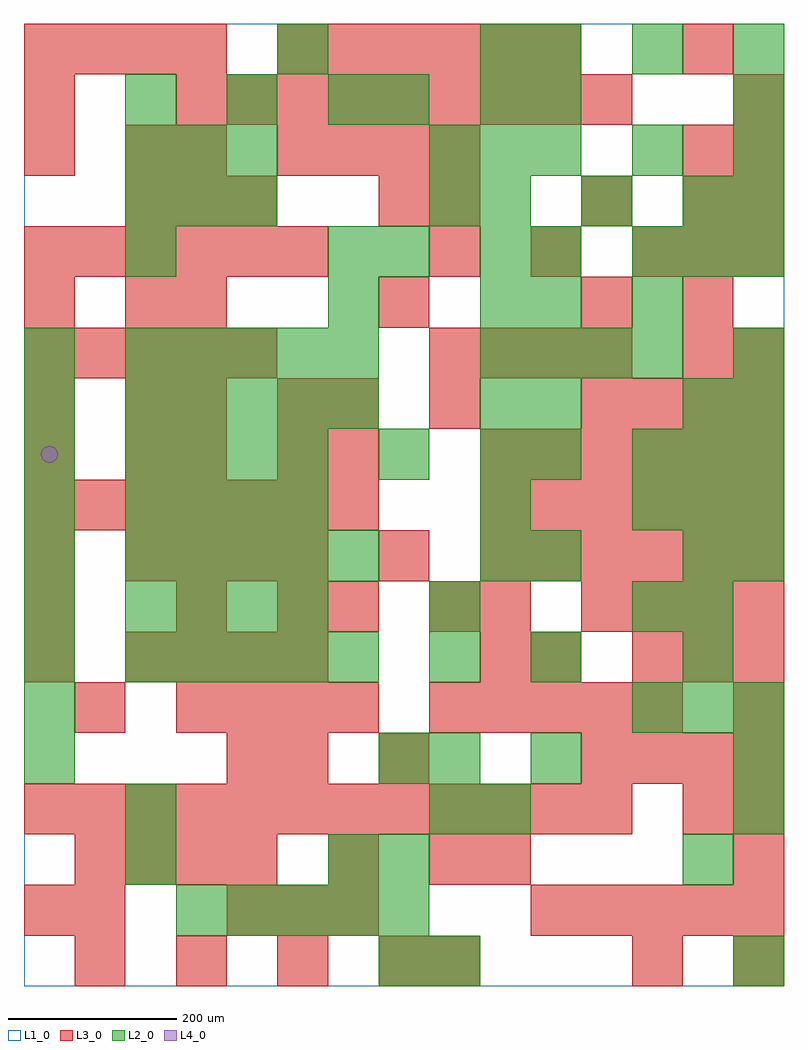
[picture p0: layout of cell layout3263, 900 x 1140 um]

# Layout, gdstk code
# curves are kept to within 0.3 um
import gdstk
lib = gdstk.Library(unit=1e-6, precision=1e-09)
def R(c, l, rs):  # rectangles x0, y0, x1, y1
    for r in rs: c.add(gdstk.rectangle(r[:2], r[2:], *l))
def A(c, l, x, y, w, h, nx, ny, dx, dy):  # array of equal rectangles
    R(c, l, [(x+i*dx, y+j*dy, x+i*dx+w, y+j*dy+h) for i in range(nx) for j in range(ny)])
def P(c, l, *ps):  # polygons
    for p in ps: c.add(gdstk.Polygon(p, *l))
L1_0 = (1, 0)
L2_0 = (2, 0)
L3_0 = (3, 0)
L4_0 = (4, 0)

layout3263 = lib.new_cell('layout3263')
R(layout3263, L1_0, [(0,0,900,1140)])
A(layout3263, L2_0, 420, 0, 60, 60, 1, 3, 0, 120)
A(layout3263, L2_0, 180, 60, 60, 60, 5, 1, 60, 0)
A(layout3263, L2_0, 0, 240, 60, 60, 1, 9, 0, 60)
A(layout3263, L2_0, 600, 240, 60, 60, 1, 4, 0, 120)
A(layout3263, L2_0, 720, 300, 60, 60, 3, 2, 60, 240)
A(layout3263, L2_0, 120, 360, 60, 60, 5, 2, 60, 120)
A(layout3263, L2_0, 780, 360, 60, 60, 1, 3, 0, 60)
A(layout3263, L2_0, 120, 420, 60, 60, 4, 2, 60, 120)
A(layout3263, L2_0, 540, 480, 60, 60, 1, 4, 0, 60)
A(layout3263, L2_0, 120, 600, 60, 60, 4, 1, 60, 0)
A(layout3263, L2_0, 720, 600, 60, 60, 3, 2, 60, 240)
A(layout3263, L2_0, 120, 660, 60, 60, 5, 2, 60, 60)
A(layout3263, L2_0, 540, 720, 60, 60, 4, 1, 60, 0)
A(layout3263, L2_0, 120, 900, 60, 60, 3, 2, 60, 60)
A(layout3263, L2_0, 540, 900, 60, 60, 3, 1, 120, 0)
A(layout3263, L2_0, 840, 900, 60, 60, 1, 3, 0, 60)
A(layout3263, L2_0, 480, 960, 60, 60, 3, 1, 60, 0)
A(layout3263, L2_0, 120, 1020, 60, 60, 3, 1, 120, 0)
A(layout3263, L2_0, 600, 1080, 60, 60, 3, 1, 120, 0)
R(layout3263, L2_0, [(480,0,540,60), (840,0,900,60), (120,120,180,180), (360,120,420,180), (780,120,840,180), (120,180,180,240), (480,180,540,240), (540,180,600,240), (840,180,900,240), (480,240,540,300), (840,240,900,300), (480,360,540,420), (480,420,540,480), (720,420,780,480), (840,480,900,540), (420,600,480,660), (600,660,660,720), (780,660,840,720), (840,660,900,720), (840,720,900,780), (360,780,420,840), (540,780,600,840), (600,780,660,840), (720,780,780,840), (120,840,180,900), (360,840,420,900), (420,840,480,900), (540,840,600,900), (600,840,660,900), (480,900,540,960), (720,960,780,1020), (420,1020,480,1080), (540,1020,600,1080), (600,1020,660,1080), (300,1080,360,1140), (540,1080,600,1140)])
A(layout3263, L3_0, 60, 0, 60, 60, 4, 1, 120, 0)
A(layout3263, L3_0, 240, 60, 60, 60, 3, 1, 60, 0)
A(layout3263, L3_0, 600, 60, 60, 60, 5, 1, 60, 0)
A(layout3263, L3_0, 60, 120, 60, 60, 4, 1, 60, 0)
A(layout3263, L3_0, 0, 180, 60, 60, 12, 1, 60, 0)
A(layout3263, L3_0, 300, 240, 60, 60, 1, 3, 0, 180)
A(layout3263, L3_0, 660, 240, 60, 60, 4, 2, 60, 180)
A(layout3263, L3_0, 180, 300, 60, 60, 4, 1, 60, 0)
A(layout3263, L3_0, 480, 300, 60, 60, 5, 1, 60, 0)
A(layout3263, L3_0, 0, 360, 60, 60, 1, 3, 0, 60)
A(layout3263, L3_0, 120, 360, 60, 60, 4, 2, 60, 120)
A(layout3263, L3_0, 720, 360, 60, 60, 3, 1, 60, 0)
A(layout3263, L3_0, 480, 420, 60, 60, 1, 3, 0, 240)
A(layout3263, L3_0, 540, 480, 60, 60, 6, 3, 60, 60)
A(layout3263, L3_0, 0, 540, 60, 60, 7, 1, 60, 0)
A(layout3263, L3_0, 660, 660, 60, 60, 4, 1, 60, 0)
A(layout3263, L3_0, 0, 720, 60, 60, 5, 1, 60, 0)
A(layout3263, L3_0, 480, 720, 60, 60, 4, 1, 60, 0)
A(layout3263, L3_0, 780, 720, 60, 60, 1, 5, 0, 60)
A(layout3263, L3_0, 180, 780, 60, 60, 3, 1, 240, 0)
A(layout3263, L3_0, 0, 840, 60, 60, 6, 1, 60, 0)
A(layout3263, L3_0, 480, 840, 60, 60, 3, 1, 120, 0)
A(layout3263, L3_0, 840, 840, 60, 60, 1, 4, 0, 60)
A(layout3263, L3_0, 120, 900, 60, 60, 3, 1, 60, 0)
A(layout3263, L3_0, 300, 960, 60, 60, 4, 1, 60, 0)
A(layout3263, L3_0, 180, 1020, 60, 60, 9, 1, 60, 0)
A(layout3263, L3_0, 0, 1080, 60, 60, 4, 1, 60, 0)
A(layout3263, L3_0, 300, 1080, 60, 60, 6, 1, 60, 0)
R(layout3263, L3_0, [(480,0,540,60), (720,0,780,60), (840,0,900,60), (0,60,60,120), (60,60,120,120), (360,120,420,180), (480,120,540,180), (540,120,600,180), (840,120,900,180), (780,180,840,240), (840,180,900,240), (240,240,300,300), (420,240,480,300), (60,300,120,360), (840,300,900,360), (540,360,600,420), (600,360,660,420), (180,420,240,480), (360,420,420,480), (540,420,600,480), (420,480,480,540), (0,600,60,660), (120,600,180,660), (180,600,240,660), (360,600,420,660), (0,660,60,720), (120,660,180,720), (180,660,240,720), (300,660,360,720), (360,660,420,720), (840,720,900,780), (0,780,60,840), (120,780,180,840), (420,900,480,960), (660,900,720,960), (0,960,60,1020), (120,960,180,1020), (180,960,240,1020), (0,1020,60,1080), (780,1080,840,1140)])
P(layout3263, L4_0, [(40,630),(39.239,633.827),(37.071,637.071),(33.827,639.239),(30,640),(26.173,639.239),(22.929,637.071),(20.761,633.827),(20,630),(20.761,626.173),(22.929,622.929),(26.173,620.761),(30,620),(33.827,620.761),(37.071,622.929),(39.239,626.173)])

lib.write_gds('layout3263.gds')
